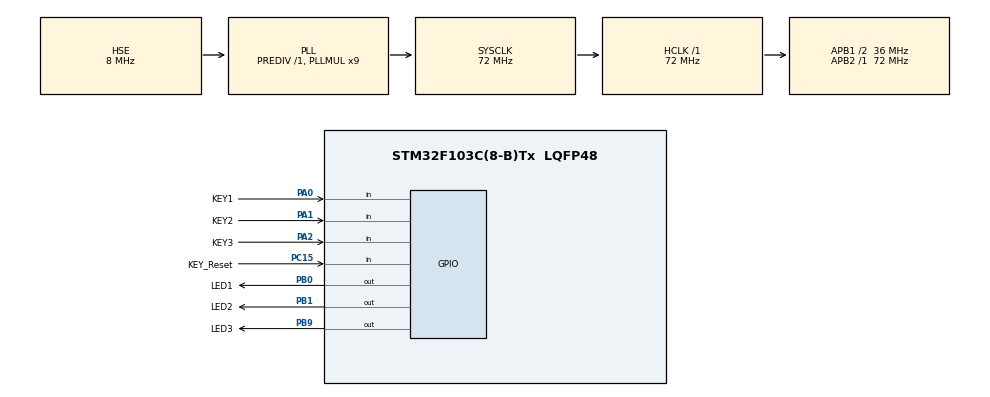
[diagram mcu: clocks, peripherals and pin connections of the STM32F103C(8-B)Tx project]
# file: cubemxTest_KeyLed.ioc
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Mcu.Family=STM32F1
Mcu.Name=STM32F103C(8-B)Tx
Mcu.Package=LQFP48
NVIC.PriorityGroup=NVIC_PRIORITYGROUP_4
PA0-WKUP.GPIO_Label=KEY1
PA0-WKUP.GPIO_PuPd=GPIO_PULLUP
PA0-WKUP.Signal=GPIO_Input
PA1.GPIO_Label=KEY2
PA1.GPIO_PuPd=GPIO_PULLUP
PA1.Signal=GPIO_Input
PA13.Mode=Serial_Wire
PA13.Signal=SYS_JTMS-SWDIO
PA14.Mode=Serial_Wire
PA14.Signal=SYS_JTCK-SWCLK
PA2.GPIO_Label=KEY3
PA2.GPIO_PuPd=GPIO_PULLUP
PA2.Signal=GPIO_Input
PB0.GPIO_Label=LED1
PB0.PinState=GPIO_PIN_SET
PB0.Signal=GPIO_Output
PB1.GPIO_Label=LED2
PB1.PinState=GPIO_PIN_SET
PB1.Signal=GPIO_Output
PB9.GPIO_Label=LED3
PB9.PinState=GPIO_PIN_SET
PB9.Signal=GPIO_Output
PC15-OSC32_OUT.GPIO_Label=KEY_Reset
PC15-OSC32_OUT.GPIO_PuPd=GPIO_PULLUP
PC15-OSC32_OUT.Signal=GPIO_Input
PD0-OSC_IN.Mode=HSE-External-Oscillator
PD0-OSC_IN.Signal=RCC_OSC_IN
PD1-OSC_OUT.Mode=HSE-External-Oscillator
PD1-OSC_OUT.Signal=RCC_OSC_OUT
ProjectManager.HeapSize=0x200
ProjectManager.StackSize=0x400
ProjectManager.TargetToolchain=Makefile
RCC.AHBFreq_Value=72000000
RCC.APB1CLKDivider=RCC_HCLK_DIV2
RCC.APB1Freq_Value=36000000
RCC.APB1TimFreq_Value=72000000
RCC.APB2Freq_Value=72000000
RCC.APB2TimFreq_Value=72000000
RCC.HCLKFreq_Value=72000000
RCC.PLLMUL=RCC_PLL_MUL9
RCC.PLLSourceVirtual=RCC_PLLSOURCE_HSE
RCC.SYSCLKFreq_VALUE=72000000
RCC.SYSCLKSource=RCC_SYSCLKSOURCE_PLLCLK
RCC.USBFreq_Value=72000000
board=custom

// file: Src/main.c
/* USER CODE BEGIN Header */
/**
  ******************************************************************************
  * @file           : main.c
  * @brief          : Main program body
  ******************************************************************************
  * @attention
  *
  * <h2><center>&copy; Copyright (c) 2019 STMicroelectronics.
  * All rights reserved.</center></h2>
  *
  * This software component is licensed by ST under BSD 3-Clause license,
  * the "License"; You may not use this file except in compliance with the
  * License. You may obtain a copy of the License at:
  *                        opensource.org/licenses/BSD-3-Clause
  *
  ******************************************************************************
  */
/* USER CODE END Header */

#include "main.h"
#include "gpio.h"

void SystemClock_Config(void);
/* USER CODE BEGIN PFP */
void LEDSwitchOn(GPIO_TypeDef* KeyPort, uint16_t KeyPin,GPIO_TypeDef* LedPort, uint16_t LedPin);
void LEDSwitchOff(GPIO_TypeDef* LedPort, uint16_t LedPin);
void LEDInit();
/* USER CODE END PFP */

/* USER CODE BEGIN 0 */
int countKeyNum=0;
/* USER CODE END 0 */

int main(void)
{
  /* MCU Configuration--------------------------------------------------------*/
  /* Reset of all peripherals, Initializes the Flash interface and the Systick. */
  HAL_Init();
  SystemClock_Config();
  MX_GPIO_Init();

  /* USER CODE BEGIN 2 */
  LEDInit();
  /* USER CODE END 2 */

  /* Infinite loop */
  while (1)
  {
    if(!HAL_GPIO_ReadPin(KEY_Reset_GPIO_Port,KEY_Reset_Pin)){
      countKeyNum=0;
      LEDInit();
    }

    if(!HAL_GPIO_ReadPin(KEY1_GPIO_Port,KEY1_Pin)){
      if(countKeyNum<4){
        LEDSwitchOn(KEY1_GPIO_Port,KEY1_Pin,LED1_GPIO_Port,LED1_Pin);

        LEDSwitchOff(LED2_GPIO_Port,LED2_Pin);
        LEDSwitchOff(LED3_GPIO_Port,LED3_Pin);
      }
    }

    if(!HAL_GPIO_ReadPin(KEY2_GPIO_Port,KEY2_Pin)){
      if(countKeyNum<4){
        LEDSwitchOn(KEY2_GPIO_Port,KEY2_Pin,LED2_GPIO_Port,LED2_Pin);

        LEDSwitchOff(LED1_GPIO_Port,LED1_Pin);
        LEDSwitchOff(LED3_GPIO_Port,LED3_Pin);
      }
    }

    if(!HAL_GPIO_ReadPin(KEY3_GPIO_Port,KEY3_Pin)){
      if(countKeyNum<4){
        LEDSwitchOn(KEY3_GPIO_Port,KEY3_Pin,LED3_GPIO_Port,LED3_Pin);

        LEDSwitchOff(LED1_GPIO_Port,LED1_Pin);
        LEDSwitchOff(LED2_GPIO_Port,LED2_Pin);
      }
    }
  }
}

/* USER CODE BEGIN 4 */
void LEDSwitchOn(GPIO_TypeDef* KeyPort, uint16_t KeyPin,GPIO_TypeDef* LedPort, uint16_t LedPin)
{
  if(!HAL_GPIO_ReadPin(KeyPort,KeyPin)){
    HAL_Delay(20);                                        //延时去抖动
    if(!HAL_GPIO_ReadPin(KeyPort,KeyPin)){
        HAL_GPIO_WritePin(LedPort,LedPin,1);
        while(!HAL_GPIO_ReadPin(KeyPort,KeyPin));         //等待按键松开再继续下面命令
        if(HAL_GPIO_ReadPin(KeyPort,KeyPin))countKeyNum++;//松开后再计数+1,避免长按一直计数
    }
  }
}

void LEDSwitchOff(GPIO_TypeDef* LedPort, uint16_t LedPin)
{
  HAL_GPIO_WritePin(LedPort,LedPin,0);
}

void LEDInit()
{
  LEDSwitchOff(LED1_GPIO_Port,LED1_Pin);
  LEDSwitchOff(LED2_GPIO_Port,LED2_Pin);
  LEDSwitchOff(LED3_GPIO_Port,LED3_Pin);
}
/* USER CODE END 4 */

/********************************************Auto Generated*******************************************/

void SystemClock_Config(void)
{
  RCC_OscInitTypeDef RCC_OscInitStruct = {0};
  RCC_ClkInitTypeDef RCC_ClkInitStruct = {0};

  /** Initializes the CPU, AHB and APB busses clocks
  */
  RCC_OscInitStruct.OscillatorType = RCC_OSCILLATORTYPE_HSE;
  RCC_OscInitStruct.HSEState = RCC_HSE_ON;
  RCC_OscInitStruct.HSEPredivValue = RCC_HSE_PREDIV_DIV1;
  RCC_OscInitStruct.HSIState = RCC_HSI_ON;
  RCC_OscInitStruct.PLL.PLLState = RCC_PLL_ON;
  RCC_OscInitStruct.PLL.PLLSource = RCC_PLLSOURCE_HSE;
  RCC_OscInitStruct.PLL.PLLMUL = RCC_PLL_MUL9;
  if (HAL_RCC_OscConfig(&RCC_OscInitStruct) != HAL_OK)
  {
    Error_Handler();
  }
  /** Initializes the CPU, AHB and APB busses clocks
  */
  RCC_ClkInitStruct.ClockType = RCC_CLOCKTYPE_HCLK|RCC_CLOCKTYPE_SYSCLK
                              |RCC_CLOCKTYPE_PCLK1|RCC_CLOCKTYPE_PCLK2;
  RCC_ClkInitStruct.SYSCLKSource = RCC_SYSCLKSOURCE_PLLCLK;
  RCC_ClkInitStruct.AHBCLKDivider = RCC_SYSCLK_DIV1;
  RCC_ClkInitStruct.APB1CLKDivider = RCC_HCLK_DIV2;
  RCC_ClkInitStruct.APB2CLKDivider = RCC_HCLK_DIV1;

  if (HAL_RCC_ClockConfig(&RCC_ClkInitStruct, FLASH_LATENCY_2) != HAL_OK)
  {
    Error_Handler();
  }
}

void Error_Handler(void)
{
}

/************************ (C) COPYRIGHT STMicroelectronics *****END OF FILE****/
